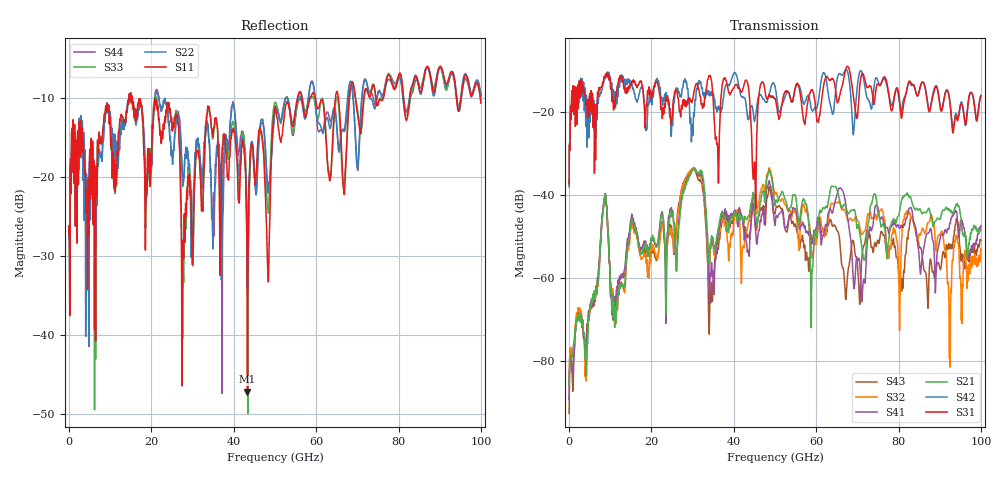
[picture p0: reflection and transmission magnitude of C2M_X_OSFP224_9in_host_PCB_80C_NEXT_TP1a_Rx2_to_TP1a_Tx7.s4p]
# GHz S RI R 45
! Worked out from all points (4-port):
!   4000 points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, 25 MHz to 100 GHz, reference 45 ohm
!   strongest paths, dB at 25 MHz, 25.02 GHz, 50.02 GHz, 75.03 GHz, 100 GHz:
!     S31: -37.3, -21.3, -16.8, -13.1, -16.0
!     S42: -38.0, -22.6, -13.7, -12.5, -15.9
!     S21: -86.0, -45.1, -42.5, -44.1, -48.5
!     S41: -89.5, -44.4, -47.3, -43.0, -47.4
!     S32: -85.4, -50.3, -39.8, -44.2, -53.0
!     S43: -92.8, -49.5, -44.5, -51.1, -51.0
!   lowest |S11| = -47.1 dB at 43.33 GHz (marker M1), VSWR 1.01, Z = 44.6 + j0.0497 ohm
!   |S11| at or under -10 dB: start of sweep to 14.54 GHz; 15.35 GHz to 55.47 GHz (40.12 GHz wide, 113 % of centre); 59.84 GHz to 64.67 GHz (4.826 GHz wide, 7.75 % of centre) (the widest 3 of 12)
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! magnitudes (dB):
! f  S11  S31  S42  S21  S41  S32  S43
! 25 MHz  -27.3  -37.3  -38.0  -86.0  -89.5  -85.4  -92.8
! 8.675 GHz  -12.2  -11.9  -11.6  -40.5  -40.3  -40.7  -40.5
! 11.18 GHz  -21.3  -18.5  -16.6  -68.8  -65.6  -68.7  -66.5
! 30.15 GHz  -28.5  -16.2  -22.3  -33.7  -33.7  -33.4  -33.6
! 34.33 GHz  -12.1  -11.2  -15.3  -51.6  -58.8  -52.2  -65.1
! 43.33 GHz  -47.1  -12.8  -21.2  -45.5  -53.7  -47.8  -50.2
! 100 GHz  -10.6  -16.0  -15.9  -48.5  -47.4  -53.0  -51.0
